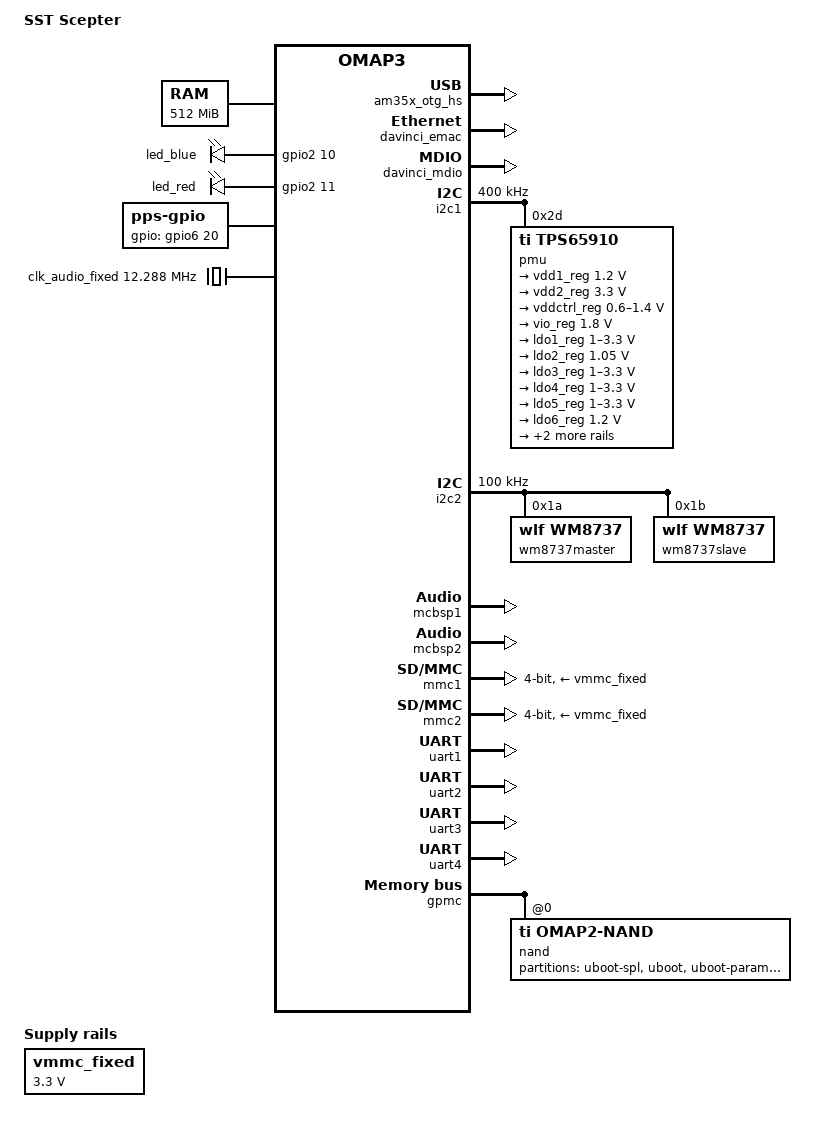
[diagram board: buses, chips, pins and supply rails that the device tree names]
/*
 * Copyright (C) 2011 Texas Instruments Incorporated - http://www.ti.com/
 *
 * This program is free software; you can redistribute it and/or modify
 * it under the terms of the GNU General Public License version 2 as
 * published by the Free Software Foundation.
 */
/dts-v1/;

#include "am3517.dtsi"
/*#include "tps65910.dtsi"*/

/ {
	model = "SST Scepter";
	compatible = "scepter", "ti,am3517-evm", "ti,am3517", "ti,omap3";

	memory {
		device_type = "memory";
		reg = <0x80000000 0x20000000>; /* 512 MB */
	};

	vmmc_fixed: vmmc {
		/*compatible = "regulator-always-on";*/
		compatible = "regulator-fixed";
		regulator-name = "vmmc_fixed";
		regulator-min-microvolt = <3300000>;
		regulator-max-microvolt = <3300000>;
	};
	
	
   	leds {
		pinctrl-names = "default";
		pinctrl-0 = <&user_leds>;
		compatible = "gpio-leds";

		led@1 {
			label = "led_blue";
			gpios = <&gpio2 10 GPIO_ACTIVE_HIGH>; /* GPIO 42 */
			default-state = "off";
		};
		led@2 {
			label = "led_red";
			gpios = <&gpio2 11 GPIO_ACTIVE_HIGH>; /* GPIO 43 */
			default-state = "on";
		};
	};
	
	pps {
		compatible = "pps-gpio";
		source-name = "ublox_neo6m";
		source-path = "/dev/ttyS3";
		pinctrl-names = "default";
		pinctrl-0 = <&gps_pins>;
		gpios = <&gpio6 20 GPIO_ACTIVE_HIGH>; /* gpio 180 */
	};

	/* iio-hwmon {
		compatible = "iio-hwmon";
		io-channels = <&adc 0>, <&adc 1>, <&adc 2>,
			<&adc 3>, <&adc 4>, <&adc 5>,
			<&adc 6>, <&adc 7>, <&adc 8>,
			<&adc 9>;
	}; */
	
	clk_audio_fixed: clk_audio_fixed {
		#clock-cells = <0>;
		compatible = "fixed-clock";
		clock-frequency = <12288000>;
	};

	sound {
		status = "okay";
		compatible = "simple-audio-card";
		simple-audio-card,name = "WM8737x2";
		simple-audio-card,widgets = "Line", "Line In";
	      simple-audio-card,routing =
	      	"LINPUT1", "Line In",
			"RINPUT1", "Line In";

		simple-audio-card,dai-link@0 { /* master */
			format = "dsp_b";
			bitclock-master = <&sound_master>;
			frame-master = <&sound_master>;
			cpu {
				sound-dai = <&mcbsp1 0>;
			};
			sound_master: codec {
				sound-dai = <&wm8737master 0>;
				clocks = <&clk_audio_fixed>;
			};
		};
	};
}; /* / */

&am35x_otg_hs {
	status = "okay";
};

&davinci_emac {
	status = "okay";
};

&davinci_mdio {
	status = "okay";
};

/* &mcspi1 {
	adc: mcp3001@0 {
		compatible = "microchip,mcp3001"
		reg = <0x0>;
		#io-channel-cells = <1>;
	}
}; */

&i2c1 {
	clock-frequency = <400000>;
	/*pinctrl-names = "default";
	pintctrl-0 = <&wm5102_i2c_pins_default>;*/
	status = "okay";

	pmu: tps65910@2d {
		compatible = "ti,tps65910";
		reg = <0x2d>;
		interrupt-parent = <&intc>;
		interrupts = < 0 118 0x04 >;

		#gpio-cells = <2>;
		gpio-controller;

		#interrupt-cells = <2>;
		interrupt-controller;

		ti,system-power-controller;

		/*ti,vmbch-threshold = 0;
		ti,vmbch2-threshold = 0;
		ti,en-ck32k-xtal;
		ti,en-gpio-sleep = <0 0 1 0 0 0 0 0 0>;

		vcc1-supply = <&reg_parent>;
		vcc2-supply = <&some_reg>;
		vcc3-supply = <...>;
		vcc4-supply = <...>;
		vcc5-supply = <...>;
		vcc6-supply = <...>;
		vcc7-supply = <...>;
		vccio-supply = <...>;*/

		regulators {
			#address-cells = <1>;
			#size-cells = <0>;

			vdd1_reg: regulator@0 {
				regulator-compatible = "vdd1";
				reg = <0>;
				regulator-min-microvolt = <1200000>;
				regulator-max-microvolt = <1200000>;
				regulator-always-on;
				regulator-boot-on;
				ti,regulator-ext-sleep-control = <0>;
			};
			vdd2_reg: regulator@1 {
				regulator-compatible = "vdd2";
				reg = <1>;
				regulator-min-microvolt = <3300000>;
				regulator-max-microvolt = <3300000>;
				regulator-always-on;
				regulator-boot-on;
				ti,regulator-ext-sleep-control = <4>;
			};
			vddctrl_reg: regulator@2 {
				regulator-compatible = "vddctrl";
				reg = <2>;
				regulator-min-microvolt = < 600000>;
				regulator-max-microvolt = <1400000>;
				regulator-always-on;
				regulator-boot-on;
				ti,regulator-ext-sleep-control = <0>;
			};
			vio_reg: regulator@3 {
				regulator-compatible = "vio";
				reg = <3>;
				regulator-min-microvolt = <1800000>;
				regulator-max-microvolt = <1800000>;
				regulator-always-on;
				regulator-boot-on;
				ti,regulator-ext-sleep-control = <1>;
			};
			ldo1_reg: regulator@4 {
				regulator-compatible = "ldo1";
				reg = <4>;
				regulator-min-microvolt = <1000000>;
				regulator-max-microvolt = <3300000>;
				ti,regulator-ext-sleep-control = <0>;
			};
			ldo2_reg: regulator@5 {
				regulator-compatible = "ldo2";
				reg = <5>;
				regulator-min-microvolt = <1050000>;
				regulator-max-microvolt = <1050000>;
				ti,regulator-ext-sleep-control = <0>;
			};
			ldo3_reg: regulator@6 {
				regulator-compatible = "ldo3";
				reg = <6>;
				regulator-min-microvolt = <1000000>;
				regulator-max-microvolt = <3300000>;
				ti,regulator-ext-sleep-control = <0>;
			};
			ldo4_reg: regulator@7 {
				regulator-compatible = "ldo4";
				reg = <7>;
				regulator-min-microvolt = <1000000>;
				regulator-max-microvolt = <3300000>;
				regulator-always-on;
				ti,regulator-ext-sleep-control = <0>;
			};
			ldo5_reg: regulator@8 {
				regulator-compatible = "ldo5";
				reg = <8>;
				regulator-min-microvolt = <1000000>;
				regulator-max-microvolt = <3300000>;
				ti,regulator-ext-sleep-control = <0>;
			};
			ldo6_reg: regulator@9 {
				regulator-compatible = "ldo6";
				reg = <9>;
				regulator-min-microvolt = <1200000>;
				regulator-max-microvolt = <1200000>;
				ti,regulator-ext-sleep-control = <0>;
			};
			ldo7_reg: regulator@10 {
				regulator-compatible = "ldo7";
				reg = <10>;
				regulator-min-microvolt = <1200000>;
				regulator-max-microvolt = <1200000>;
				regulator-always-on;
				regulator-boot-on;
				ti,regulator-ext-sleep-control = <1>;
			};
			ldo8_reg: regulator@11 {
				regulator-compatible = "ldo8";
				reg = <11>;
				regulator-min-microvolt = <1000000>;
				regulator-max-microvolt = <3300000>;
				regulator-always-on;
				ti,regulator-ext-sleep-control = <1>;
			};
		};
	};
};

&i2c2 {
	status = "okay";
	clock-frequency = <100000>;
	pinctrl-names = "default";
	pinctrl-0 = <&wm8737_pins_default>;
	
	wm8737master: wm8737@1a {
		compatible = "wlf,wm8737";
		reg = <0x1a>;
		status = "okay";
		/* Regulators */
		/* DCVDD-supply = <&vmmc_fixed>;
		DBVDD-supply = <&vmmc_fixed>;
		AVDD-supply = <&vmmc_fixed>;
		MVDD-supply = <&vmmc_fixed>; */
		#sound-dai-cells = <1>;
	};

	wm8737slave: wm8737@1b {
		compatible = "wlf,wm8737";
		reg = <0x1b>;
		status = "okay";
		/* Regulators */
		/* DCVDD-supply = <&vmmc_fixed>;
		DBVDD-supply = <&vmmc_fixed>;
		AVDD-supply = <&vmmc_fixed>;
		MVDD-supply = <&vmmc_fixed>; */
		#sound-dai-cells = <0>;
	};
};

&i2c3 {
	/* This is for the EEPROM, which is no longer populated */
	status = "disabled";
};


/* Master */
&mcbsp1 {
	status = "okay";
	pinctrl-names = "default";
	pinctrl-0 = <&mcbsp1_pins>;
	#sound-dai-cells = <1>;
	/* These are defined incorrectly in omap3.dtsi. See section 13.3.3.1 of the TRM */
	dmas = <&sdma 30>, <&sdma 31>;
	dma-names = "tx", "rx";
};

/* Slave */
&mcbsp2 {
	status = "okay";
	pinctrl-names = "default";
	pinctrl-0 = <&mcbsp2_pins>;
	/* These are defined incorrectly in omap3.dtsi. See section 13.3.3.1 of the TRM */
	dmas = <&sdma 32>, <&sdma 33>;
	dma-names = "tx", "rx";
};

/* PPS */
&mcbsp3 {
	/* We're now using GPIO pps instead of this, so let's disable this */
	status = "disabled";
};

&mmc1 {
	status = "okay";
	vmmc-supply = <&vmmc_fixed>;
	pinctrl-names = "default", "idle";
	pinctrl-0 = <&mmc1_pins_default>;
	pinctrl-1 = <&mmc1_pins_idle>;
	bus-width = <4>;
	ti,non-removable;
	disable-wp;
	/* interrupts-extended = <&intc 64 &gpio2 28 GPIO_ACTIVE_LOW>;*/
	/* interrupts-extended = <&intc 64 &gpio2 28 GPIO_ACTIVE_HIGH>; */
	/* cd-gpios = <&gpio1 6 GPIO_ACTIVE_HIGH>;
	cd-inverted;*/ 
};

&mmc2 {
	status = "okay";
	vmmc-supply = <&vmmc_fixed>;
	pinctrl-names = "default", "idle";
	pinctrl-0 = <&mmc2_pins_default>;
	pinctrl-1 = <&mmc2_pins_idle>;
	bus-width = <4>;
	/*interrupts-extended = <&intc 86 &gpio2 29 GPIO_ACTIVE_HIGH>;
	cd-gpios = <&gpio1 6 GPIO_ACTIVE_HIGH>;
	cd-inverted;*/
};

&aes {
	/* we don't have one of these */
	status = "disabled";
};

&sham {
	/* we don't have one of these */
	status = "disabled";
};

&mmc3 {
	status = "disabled";
};

&uart1 {
	status = "okay";
};

&uart2 {
	status = "okay";
};

&uart3 {
	status = "okay";
}; 

&uart4 {
	status = "okay";
	dma-names = "tx", "rx";
	dmas = <&sdma 55 &sdma 56>; /* dmas in am3517.dtsi is wrong so we fix it here. kick upstream? */
};

/* 
* TI's tools output offsets from 0x48002000. omap3.dtsi uses an offset of 0x48002030.
* Make sure you've adjusted the offsets accordingly.
*/
&omap3_pmx_core {
	pinctrl-names = "default";
	nand_pins: nand_pins {
		pinctrl-single,pins = <
			0x8E ( PIN_OUTPUT | MUX_MODE0 ) /* gpmc_clk, NC*/
			0x5E ( PIN_INPUT_PULLUP | MUX_MODE0 ) /* gpmc_d0, CPU_GPMC_D0*/
			0x60 ( PIN_INPUT_PULLUP | MUX_MODE0 ) /* gpmc_d1, CPU_GPMC_D1*/
			0x62 ( PIN_INPUT_PULLUP | MUX_MODE0 ) /* gpmc_d2, CPU_GPMC_D2*/
			0x64 ( PIN_INPUT_PULLUP | MUX_MODE0 ) /* gpmc_d3, CPU_GPMC_D3*/
			0x66 ( PIN_INPUT_PULLUP | MUX_MODE0 ) /* gpmc_d4, CPU_GPMC_D4*/
			0x68 ( PIN_INPUT_PULLUP | MUX_MODE0 ) /* gpmc_d5, CPU_GPMC_D5*/
			0x6A ( PIN_INPUT_PULLUP | MUX_MODE0 ) /* gpmc_d6, CPU_GPMC_D6*/
			0x6C ( PIN_INPUT_PULLUP | MUX_MODE0 ) /* gpmc_d7, CPU_GPMC_D7*/
			0x6E ( PIN_INPUT_PULLUP | MUX_MODE0 ) /* gpmc_d8, CPU_GPMC_D8*/
			0x70 ( PIN_INPUT_PULLUP | MUX_MODE0 ) /* gpmc_d9, CPU_GPMC_D9*/
			0x72 ( PIN_INPUT_PULLUP | MUX_MODE0 ) /* gpmc_d10, CPU_GPMC_D10*/
			0x74 ( PIN_INPUT_PULLUP | MUX_MODE0 ) /* gpmc_d11, CPU_GPMC_D11*/
			0x76 ( PIN_INPUT_PULLUP | MUX_MODE0 ) /* gpmc_d12, CPU_GPMC_D12*/
			0x78 ( PIN_INPUT_PULLUP | MUX_MODE0 ) /* gpmc_d13, CPU_GPMC_D13*/
			0x7A ( PIN_INPUT_PULLUP | MUX_MODE0 ) /* gpmc_d14, CPU_GPMC_D14*/
			0x7C ( PIN_INPUT_PULLUP | MUX_MODE0 ) /* gpmc_d15, CPU_GPMC_D15*/
			0x90 ( PIN_OUTPUT | MUX_MODE0 ) /* gpmc_nadv_ale, CPU_GPMC_NAVD_ALE*/
			0x96 ( PIN_OUTPUT_PULLUP | MUX_MODE0 ) /* gpmc_nbe0_cle, CPU_GPMC_NBE0_CLE*/
			0x98 ( PIN_INPUT_PULLUP | MUX_MODE7 ) /* safe_mode, NC*/
			0x7E ( PIN_OUTPUT_PULLUP | MUX_MODE0 ) /* gpmc_ncs0, CPU_GPMC_NCS0*/
			0x80 ( PIN_INPUT_PULLUP | MUX_MODE7 ) /* safe_mode, NC*/
			0x92 ( PIN_OUTPUT | MUX_MODE0 ) /* gpmc_noe, CPU_GPMC_NOE*/
			0x94 ( PIN_OUTPUT | MUX_MODE0 ) /* gpmc_nwe, CPU_GPMC_NWE*/
			0x9A ( PIN_OUTPUT | MUX_MODE0 ) /* gpmc_nwp, CPU_GPMC_NWP*/
			0x9C ( PIN_INPUT_PULLUP | MUX_MODE0 ) /* gpmc_wait0, CPU_GPMC_WAIT0*/
		> ;
	} ;

	mmc1_pins_default: pinmux_mmc1_pins {
		pinctrl-single,pins = <
			0x114 ( PIN_INPUT_PULLUP | MUX_MODE0 ) /* mmc1_clk, CPU_MMC1_CLK*/
			0x116 ( INPUT_EN | PULL_UP | MUX_MODE0 ) /* mmc1_cmd, CPU_MMC1_CMD*/
			0x118 ( INPUT_EN | PULL_UP | MUX_MODE0 ) /* mmc1_dat0, CPU_MMC1_DAT0*/
			0x11A ( INPUT_EN | PULL_UP | MUX_MODE0 ) /* mmc1_dat1, CPU_MMC1_DAT1*/
			0x11C ( INPUT_EN | PULL_UP | MUX_MODE0 ) /* mmc1_dat2, CPU_MMC1_DAT2*/
			0x11E ( INPUT_EN | PULL_UP | MUX_MODE0 ) /* mmc1_dat3, CPU_MMC1_DAT3*/
			0x1BE ( PIN_INPUT_PULLUP | MUX_MODE4 ) /* gpio_99, SD_CARD1_DET*/
		> ;
	} ; 

	mmc1_pins_idle: pinmux_mmc1_pins_idle {
		pinctrl-single,pins = <
			0x11A ( INPUT_EN | PULL_UP | MUX_MODE0 ) /* mmc1_dat1, CPU_MMC1_DAT1*/
		> ;
	};

	mmc1_pins_sleep: pinmux_mmc1_pins_sleep {
		pinctrl-single,pins = <
			0x114 ( PIN_INPUT_PULLUP | MUX_MODE0 ) /* mmc1_clk, CPU_MMC1_CLK*/
			0x116 ( INPUT_EN | PULL_UP | MUX_MODE0 ) /* mmc1_cmd, CPU_MMC1_CMD*/
			0x118 ( INPUT_EN | PULL_UP | MUX_MODE0 ) /* mmc1_dat0, CPU_MMC1_DAT0*/
			0x11A ( INPUT_EN | PULL_UP | MUX_MODE0 ) /* mmc1_dat1, CPU_MMC1_DAT1*/
			0x11C ( INPUT_EN | PULL_UP | MUX_MODE0 ) /* mmc1_dat2, CPU_MMC1_DAT2*/
			0x11E ( INPUT_EN | PULL_UP | MUX_MODE0 ) /* mmc1_dat3, CPU_MMC1_DAT3*/
			0x1BE ( PIN_INPUT_PULLUP | MUX_MODE4 ) /* gpio_99, SD_CARD1_DET*/
		> ;
	} ;

	mmc2_pins_default: pinmux_mmc2_pins_default {
		pinctrl-single,pins = <
			0x126 ( PIN_INPUT_PULLDOWN | MUX_MODE4 ) /* gpio_129, INTR_CARD_DET*/
			0x128 ( PIN_INPUT_PULLUP | MUX_MODE0 ) /* mmc2_clk, CPU_MMC2_CLK*/
			0x12A ( PIN_INPUT_PULLUP | MUX_MODE0 ) /* mmc2_cmd, CPU_MMC2_CMD*/
			0x12C ( PIN_INPUT_PULLUP | MUX_MODE0 ) /* mmc2_dat0, CPU_MMC2_DAT0*/
			0x12E ( PIN_INPUT_PULLUP | MUX_MODE0 ) /* mmc2_dat1, CPU_MMC2_DAT1*/
			0x130 ( PIN_INPUT_PULLUP | MUX_MODE0 ) /* mmc2_dat2, CPU_MMC2_DAT2*/
			0x132 ( PIN_INPUT_PULLUP | MUX_MODE0 ) /* mmc2_dat3, CPU_MMC2_DAT3*/
			0x134 ( PIN_INPUT_PULLDOWN | MUX_MODE1 ) /* HY-DBG: MMC2_DIR_DAT0 gpio_136, BD_REV2*/
			0x136 ( PIN_INPUT_PULLDOWN | MUX_MODE1 ) /* HY-DBG: MMC2_DIR_DAT1 gpio_137, BD_REV3*/
			0x13A ( PIN_INPUT_PULLUP | MUX_MODE1 ) /* mmc2_clkin, MMC2_CLKIN*/
			/*	 0x138 ( PIN_INPUT_PULLUP | MUX_MODE1 ) /* HY-DBG: MMC2_DIR_CMD gpio_138, SD_CARD2_DET*/
			/*	 0x140 ( PIN_INPUT | MUX_MODE0 ) /* mcbsp3_clkx, ADC_BCLK1*/
		> ;
	} ;

	mmc2_pins_idle: pinmux_mmc2_pins_idle {
		pinctrl-single,pins = <
			0x12E ( PIN_INPUT_PULLUP | MUX_MODE0 ) /* mmc2_dat1, CPU_MMC2_DAT1*/
		> ;
	};

	mmc2_pins_sleep: pinmux_mmc2_pins_sleep {
		pinctrl-single,pins = <
			0x126 ( PIN_INPUT_PULLDOWN | MUX_MODE4 ) /* gpio_129, INTR_CARD_DET*/
			0x128 ( PIN_INPUT_PULLUP | MUX_MODE0 ) /* mmc2_clk, CPU_MMC2_CLK*/
			0x12A ( PIN_INPUT_PULLUP | MUX_MODE0 ) /* mmc2_cmd, CPU_MMC2_CMD*/
			0x12C ( PIN_INPUT_PULLUP | MUX_MODE0 ) /* mmc2_dat0, CPU_MMC2_DAT0*/
			0x12E ( PIN_INPUT_PULLUP | MUX_MODE0 ) /* mmc2_dat1, CPU_MMC2_DAT1*/
			0x130 ( PIN_INPUT_PULLUP | MUX_MODE0 ) /* mmc2_dat2, CPU_MMC2_DAT2*/
			0x132 ( PIN_INPUT_PULLUP | MUX_MODE0 ) /* mmc2_dat3, CPU_MMC2_DAT3*/
			0x134 ( PIN_INPUT_PULLDOWN | MUX_MODE1 ) /* HY-DBG: MMC2_DIR_DAT0 gpio_136, BD_REV2*/
			0x136 ( PIN_INPUT_PULLDOWN | MUX_MODE1 ) /* HY-DBG: MMC2_DIR_DAT1 gpio_137, BD_REV3*/
			0x13A ( PIN_INPUT_PULLUP | MUX_MODE1 ) /* mmc2_clkin, MMC2_CLKIN*/
		> ;
	} ;

	/* wm8737 control */
	wm8737_pins_default: wm8737_pins_default {
		pinctrl-single,pins = <
			0x18E ( PIN_INPUT_PULLUP | MUX_MODE0 ) /* i2c2_scl, CPU_I2C2_SCL*/
			0x190 ( PIN_INPUT_PULLUP | MUX_MODE0 ) /* i2c2_sda, CPU_I2C2_SDA*/
			0x1CC ( PIN_OUTPUT | MUX_MODE4 ) /* gpio_106, CPU_ENABLE_ADC_CLK*/
		>;
	};

	/* Master ADC0 */
	mcbsp1_pins: pinmux_mcbsp1_pins {
		pinctrl-single,pins = <
			0x15C ( PIN_INPUT | MUX_MODE0 ) /* mcbsp1_clkr, ADC_BCLK_1*/
			0x15E ( PIN_INPUT_PULLUP | MUX_MODE0 ) /* mcbsp1_fsr, FRAME_SYNC*/
			0x142 ( PIN_INPUT | MUX_MODE0 ) /* mcbsp3_fsx, FRAME_SYNC*/
			0x1AC ( PIN_INPUT_PULLDOWN | MUX_MODE7 ) /* gpt11_pwm_evt, FRAME_SYNC_8192*/
			0x162 ( PIN_INPUT | MUX_MODE0 ) /* mcbsp1_dr, ADCDAT_L*/
			0x164 ( PIN_INPUT | MUX_MODE0 ) /* mcbsp_clks, ADC_MCLK*/
		>;
	};

	/* Slave ADC1 */
	mcbsp2_pins: pinmux_mcbsp2_pins {
		pinctrl-single,pins = <
			0x10C ( PIN_INPUT | MUX_MODE0 ) /* mcbsp2_fsx, FRAME_SYNC*/
			0x10E ( PIN_INPUT | MUX_MODE0 ) /* mcbsp2_clkx, ADC_BCLK_1*/
			0x110 ( PIN_INPUT | MUX_MODE0 ) /* mcbsp2_dr, ADCDAT_R*/
		>;
	};
	
	/* Pins associated with the GPS */
	gps_pins: gps_pins {
		pinctrl-single,pins = <
			0x13E ( PIN_INPUT | MUX_MODE0 ) /* mcbsp3_dr, GPS_1PPS*/
			0x1AA ( PIN_INPUT | MUX_MODE4 ) /* gpt10_pwm_evt, GPS_1PPS*/
			0x1B6 ( PIN_OUTPUT | MUX_MODE2 ) /* uart4_tx, GPS_RXD*/
			0x1BC ( PIN_INPUT | MUX_MODE2 ) /* uart4_rx, GPS_TXD*/
			0x4A ( PIN_OUTPUT | MUX_MODE4 ) /* gpio_34, GPS_PWRON*/
			0x4C ( PIN_OUTPUT | MUX_MODE4 ) /* gpio_35, GPS_RST*/
		>;
	};
	
	/* User LEDs */
	user_leds: user_leds {
		pinctrl-single,pins = <
			0x5A ( PIN_OUTPUT | MUX_MODE4 ) /* gpio_42, CPU_LED_1*/
			0x5C ( PIN_OUTPUT | MUX_MODE4 ) /* gpio_43, CPU_LED_2*/
		>;
	};
	
	/* Serial console */
	uart3_pins: pinmux_uart3_pins {
		pinctrl-single,pins = <
			0x16A ( PIN_INPUT | MUX_MODE0 ) /* uart3_cts_rctx, CPU_UART3_CTS */
			0x16C ( PIN_OUTPUT | MUX_MODE0 ) /* uart3_rts_sd, CPU_UART3_RTS */
			0x16E ( PIN_INPUT | MUX_MODE0 ) /* uart3_rx_irrx, CPU_UART3_RX */
			0x170 ( PIN_OUTPUT | MUX_MODE0 ) /* uart3_tx_irtx, CPU_UART3_TX */
		>;
	};
	
	/* Pins associated with the cellular radio */
	cell_radio_default: pinmux_cell_radio {
		pinctrl-single,pins = <
			0x148 ( PIN_OUTPUT | MUX_MODE0 ) /* uart2_tx, GSM_RX1_CPU */
			0x14A ( PIN_INPUT | MUX_MODE0 ) /* uart2_rx, GSM_TX1_CPU */
			0x14C ( PIN_OUTPUT | MUX_MODE0 ) /* uart1_tx, GSM_RX0_CPU */
			0x152 ( PIN_INPUT | MUX_MODE0 ) /* uart1_rx, GSM_TX0_CPU */
			0x9E ( PIN_INPUT_PULLDOWN | MUX_MODE4 ) /* gpio_63, GSM_TXON*/
			0xA0 ( PIN_INPUT_PULLDOWN | MUX_MODE4 ) /* gpio_64, GSM_HWR*/
			0x82 ( PIN_OUTPUT | MUX_MODE4 ) /* gpio_53, GSM_WDIS*/
			0x84 ( PIN_OUTPUT | MUX_MODE4 ) /* gpio_54, GSM_3304_ON*/
			0x86 ( PIN_OUTPUT | MUX_MODE4 ) /* gpio_55, GSM_PWRON*/
			0x5AC ( PIN_INPUT_PULLDOWN | MUX_MODE5 ) /* mm_fsusb1_rxrcv, CPU_MM_FSUSB1_RXRCV*/
			0x5AE ( PIN_INPUT | MUX_MODE5 ) /* mm_fsusb1_txse0, CPU_MM_FSUSB1_TXSE0*/
			0x5B0 ( PIN_INPUT_PULLDOWN | MUX_MODE5 ) /* mm_fsusb1_txdat, CPU_MM_FSUSB1_TXDAT*/
			0x5BA ( PIN_INPUT | MUX_MODE5 ) /* mm_fsusb1_txen_n, CPU_MM_FSUSB1_TXEN_N*/
		>;
	};
	
	/* Ethernet */
	ethernet_pins: pinmux_ethernet_pins {
		pinctrl-single,pins = <
			0x4E ( PIN_OUTPUT | MUX_MODE4 ) /* gpio_36, RELAY*/
			0x8C ( PIN_INPUT_PULLDOWN | MUX_MODE4 ) /* gpio_58, ETHERNET_IRQ_N*/
			0xA2 ( PIN_OUTPUT | MUX_MODE4 ) /* gpio_65, CPU_ETHERNET_RST_N*/
			0x1CE ( PIN_INPUT | MUX_MODE0 ) /* rmii_mdio_data, CPU_RMII_MDIO_DATA*/
			0x1D0 ( PIN_OUTPUT | MUX_MODE0 ) /* rmii_mdio_clk, CPU_RMII_MDIO_CLK*/
			0x1D2 ( PIN_INPUT | MUX_MODE0 ) /* rmii_rxd0, CPU_RMII_RXD0*/
			0x1D4 ( PIN_INPUT | MUX_MODE0 ) /* rmii_rxd1, CPU_RMII_RXD1*/
			0x1D6 ( PIN_INPUT | MUX_MODE0 ) /* rmii_crs_dv, CPU_RMII_CRS_DV*/
			0x1D8 ( PIN_OUTPUT | MUX_MODE0 ) /* rmii_rxer, CPU_RMII_RXER*/
			0x1DA ( PIN_OUTPUT | MUX_MODE0 ) /* rmii_txd0, CPU_RMII_TXD0*/
			0x1DC ( PIN_OUTPUT | MUX_MODE0 ) /* rmii_txd1, CPU_RMII_TXD1*/
			0x1DE ( PIN_OUTPUT | MUX_MODE0 ) /* rmii_txen, CPU_RMII_TXEN*/
			0x1E0 ( PIN_INPUT_PULLDOWN | MUX_MODE0 ) /* rmii_50mhz_clk, RMII_50MHZ_CLK*/
			0x1E2 ( PIN_OUTPUT_PULLDOWN | MUX_MODE0 ) /* usb0_drvvbus, CPU_USB0_DRVVBUS */
		>;
	};
	
	/* PMIC */
	pmic_pins: pinmux_pmic_pins {
		pinctrl-single,pins = <
			0x9D4 ( PIN_INPUT | MUX_MODE0 ) /* sys_32k, CPU_CLK32K*/
			0x9D6 ( PIN_INPUT | MUX_MODE4 ) /* gpio_1, SLEEP */
			0x18A ( PIN_INPUT_PULLUP | MUX_MODE0 ) /* i2c1_scl, CPU_I2C1_SCL*/
			0x18C ( PIN_INPUT_PULLUP | MUX_MODE0 ) /* i2c1_sda, CPU_I2C1_SDA*/
		>;
	};
		
	/* CPLD watchdog */
	cpld_pins: pinmux_cpld_pins {
		pinctrl-single,pins = <
			0xA6 ( PIN_INPUT_PULLDOWN | MUX_MODE4 ) /* gpio_67, CPLD_REV0*/
			0xA8 ( PIN_INPUT_PULLDOWN | MUX_MODE4 ) /* gpio_68, CPLD_REV1*/
			0xAA ( PIN_INPUT_PULLUP | MUX_MODE4 ) /* gpio_69, CPLD_REV2*/
			0xBE ( PIN_INPUT_PULLUP | MUX_MODE4 ) /* gpio_79, SHTDWN_FLAG*/
			0xB8 ( PIN_INPUT_PULLUP | MUX_MODE4 ) /* gpio_76, CPLD_HEARTBEAT*/
			0xA4 ( PIN_INPUT_PULLUP | MUX_MODE4 ) /* gpio_66, CPU_FORCE_SHTDWN*/
		>;
	};
	
	/* sdrc */
	sdrc_pins: pinmux_sdrc_pins {
		pinctrl-single,pins = <
			0x1EA ( PIN_INPUT_PULLDOWN | MUX_MODE0 ) /* sdrc_dqs0n, GND*/
			0x1EC ( PIN_INPUT_PULLDOWN | MUX_MODE0 ) /* sdrc_dqs1n, GND*/
			0x1EE ( PIN_INPUT_PULLDOWN | MUX_MODE0 ) /* sdrc_dqs2n, GND*/
			0x1F0 ( PIN_INPUT_PULLDOWN | MUX_MODE0 ) /* sdrc_dqs3n, GND*/
			0x1F2 ( PIN_INPUT | MUX_MODE0 ) /* sdrc_strben_dly0, NC*/
			0x1F4 ( PIN_INPUT | MUX_MODE0 ) /* sdrc_strben_dly1, NC*/
			0x236 ( PIN_OUTPUT | MUX_MODE0 ) /* sdrc_cke0, CPU_DSRC_SKE0*/
			0x00 ( PIN_INPUT | MUX_MODE0 ) /* sdrc_d0, CPU_SDRC_D0*/
			0x02 ( PIN_INPUT | MUX_MODE0 ) /* sdrc_d1, CPU_SDRC_D1*/
			0x04 ( PIN_INPUT | MUX_MODE0 ) /* sdrc_d2, CPU_SDRC_D2*/
			0x06 ( PIN_INPUT | MUX_MODE0 ) /* sdrc_d3, CPU_SDRC_D3*/
			0x08 ( PIN_INPUT | MUX_MODE0 ) /* sdrc_d4, CPU_SDRC_D4*/
			0x0A ( PIN_INPUT | MUX_MODE0 ) /* sdrc_d5, CPU_SDRC_D5*/
			0x0C ( PIN_INPUT | MUX_MODE0 ) /* sdrc_d6, CPU_SDRC_D6*/
			0x0E ( PIN_INPUT | MUX_MODE0 ) /* sdrc_d7, CPU_SDRC_D7*/
			0x10 ( PIN_INPUT | MUX_MODE0 ) /* sdrc_d8, CPU_SDRC_D8*/
			0x12 ( PIN_INPUT | MUX_MODE0 ) /* sdrc_d9, CPU_SDRC_D9*/
			0x14 ( PIN_INPUT | MUX_MODE0 ) /* sdrc_d10, CPU_SDRC_D10*/
			0x16 ( PIN_INPUT | MUX_MODE0 ) /* sdrc_d11, CPU_SDRC_D11*/
			0x18 ( PIN_INPUT | MUX_MODE0 ) /* sdrc_d12, CPU_SDRC_D12*/
			0x1A ( PIN_INPUT | MUX_MODE0 ) /* sdrc_d13, CPU_SDRC_D13*/
			0x1C ( PIN_INPUT | MUX_MODE0 ) /* sdrc_d14, CPU_SDRC_D14*/
			0x1E ( PIN_INPUT | MUX_MODE0 ) /* sdrc_d15, CPU_SDRC_D15*/
			0x20 ( PIN_INPUT | MUX_MODE0 ) /* sdrc_d16, CPU_SDRC_D16*/
			0x22 ( PIN_INPUT | MUX_MODE0 ) /* sdrc_d17, CPU_SDRC_D17*/
			0x24 ( PIN_INPUT | MUX_MODE0 ) /* sdrc_d18, CPU_SDRC_D18*/
			0x26 ( PIN_INPUT | MUX_MODE0 ) /* sdrc_d19, CPU_SDRC_D19*/
			0x28 ( PIN_INPUT | MUX_MODE0 ) /* sdrc_d20, CPU_SDRC_D20*/
			0x2A ( PIN_INPUT | MUX_MODE0 ) /* sdrc_d21, CPU_SDRC_D21*/
			0x2C ( PIN_INPUT | MUX_MODE0 ) /* sdrc_d22, CPU_SDRC_D22*/
			0x2E ( PIN_INPUT | MUX_MODE0 ) /* sdrc_d23, CPU_SDRC_D23*/
			0x30 ( PIN_INPUT | MUX_MODE0 ) /* sdrc_d24, CPU_SDRC_D24*/
			0x32 ( PIN_INPUT | MUX_MODE0 ) /* sdrc_d25, CPU_SDRC_D25*/
			0x34 ( PIN_INPUT | MUX_MODE0 ) /* sdrc_d26, CPU_SDRC_D26*/
			0x36 ( PIN_INPUT | MUX_MODE0 ) /* sdrc_d27, CPU_SDRC_D27*/
			0x38 ( PIN_INPUT | MUX_MODE0 ) /* sdrc_d28, CPU_SDRC_D28*/
			0x3A ( PIN_INPUT | MUX_MODE0 ) /* sdrc_d29, CPU_SDRC_D29*/
			0x3C ( PIN_INPUT | MUX_MODE0 ) /* sdrc_d30, CPU_SDRC_D30*/
			0x3E ( PIN_INPUT | MUX_MODE0 ) /* sdrc_d31, CPU_SDRC_D31*/
			0x40 ( PIN_INPUT | MUX_MODE0 ) /* sdrc_clk, CPU_SDRC_CLK*/
			0x42 ( PIN_INPUT | MUX_MODE0 ) /* sdrc_dqs0p, CPU_SDRC_DQS0*/
			0x44 ( PIN_INPUT | MUX_MODE0 ) /* sdrc_dqs1p, CPU_SDRC_DQS1*/
			0x46 ( PIN_INPUT | MUX_MODE0 ) /* sdrc_dqs2p, CPU_SDRC_DQS2*/
			0x48 ( PIN_INPUT | MUX_MODE0 ) /* sdrc_dqs3p, CPU_SDRC_DQS3*/
		>;
	};
	
	/* hwmon */
	hwmon_pins: pinmux_hwmon {
		pinctrl-single,pins = <
			0x198 ( PIN_INPUT | MUX_MODE0 ) /* mcspi1_clk, CPU_MCSPI1_CLK*/
			0x19A ( PIN_INPUT | MUX_MODE0 ) /* mcspi1_simo, TP28_SPI1_SIMO*/
			0x19C ( PIN_INPUT | MUX_MODE0 ) /* mcspi1_somi, CPU_MCSPI1_SOMI*/
			0x19E ( PIN_INPUT_PULLDOWN | MUX_MODE0 ) /* mcspi1_cs0, CPU_MCSPI_CS0*/
			0x1C2 ( PIN_OUTPUT | MUX_MODE4 ) /* gpio_101, CPU_AMUX_INHB*/
			0x1C4 ( PIN_OUTPUT | MUX_MODE4 ) /* gpio_102, CPU_AMUX_A0*/
			0x1C6 ( PIN_OUTPUT | MUX_MODE4 ) /* gpio_103, CPU_AMUX_A1*/
			0x1C8 ( PIN_OUTPUT | MUX_MODE4 ) /* gpio_104, CPU_AMUX_A2*/
			0x1CA ( PIN_OUTPUT | MUX_MODE4 ) /* gpio_105, CPU_AMUX_A3*/
			0xB0 ( PIN_OUTPUT | MUX_MODE4 ) /* gpio_72, CPU_AMUX_A4*/
		>;
	};
	
	/* Heaters */
	heaters: pinmux_heaters {
		pinctrl-single,pins = <
			0x50 ( PIN_INPUT_PULLDOWN | MUX_MODE4 ) /* gpio_37, HEAT_3304*/
			0xAC ( PIN_INPUT_PULLDOWN | MUX_MODE4 ) /* gpio_70, CPU_ADC_HEAT_LFT*/
			0xAE ( PIN_INPUT_PULLDOWN | MUX_MODE4 ) /* gpio_71, CPU_ADC_HEAT_RGT*/
		>;
	};
	
	/* Board rev fuses */
	board_rev_pins: pinmux_board_rev {
		pinctrl-single,pins = <
			0x120 ( PIN_INPUT_PULLDOWN | MUX_MODE4 ) /* gpio_126, BD_REV0*/
			0x122 ( PIN_INPUT_PULLDOWN | MUX_MODE4 ) /* gpio_127, BD_REV1*/
			0xD0 ( PIN_INPUT | MUX_MODE4 ) /* gpio_88, BD_REV2*/
			0xD2 ( PIN_INPUT | MUX_MODE4 ) /* gpio_89, BD_REV3*/
		>;
	};
	
	/* JTAG */
	jtag: pinmux_jtag {
		pinctrl-single,pins = <
			0x9EE ( PIN_INPUT | MUX_MODE0 ) /* jtag_tck, CPU_JTAG_TCK*/
			0x9F0 ( PIN_INPUT | MUX_MODE0 ) /* jtag_tms_tmsc, CPU_JTAG_TMS_TMSC*/
			0x9F2 ( PIN_INPUT | MUX_MODE0 ) /* jtag_tdi, CPU_JTAG_TDI*/
			0x9F4 ( PIN_INPUT | MUX_MODE0 ) /* jtag_emu0, CPU_JTAG_EMU0*/
			0x9F6 ( PIN_INPUT | MUX_MODE0 ) /* jtag_emu1, CPU_JTAG_EMU1*/
		>;
	};
	
	/* sysboot pins */
	sysboot: pinmux_sysboot {
		pinctrl-single,pins = <
			0x9DA ( PIN_INPUT | MUX_MODE0 ) /* sys_boot0, CPU_SYS_BOOT0*/
			0x9DC ( PIN_INPUT | MUX_MODE0 ) /* sys_boot1, CPU_SYS_BOOT1*/
			0x9DE ( PIN_INPUT | MUX_MODE0 ) /* sys_boot2, CPU_SYS_BOOT2*/
			0x9E0 ( PIN_INPUT | MUX_MODE0 ) /* sys_boot3, CPU_SYS_BOOT3 */
			0x9E2 ( PIN_INPUT | MUX_MODE0 ) /* sys_boot4, CPU_SYS_BOOT4 */
			0x9E4 ( PIN_INPUT | MUX_MODE0 ) /* sys_boot5, CPU_SYS_BOOT5 */
			0x9E6 ( PIN_INPUT | MUX_MODE0 ) /* sys_boot6, CPU_SYS_BOOT6 */
			0x1E8 ( PIN_INPUT | MUX_MODE0 ) /* sys_boot7, CPU_SYS_BOOT7 */
			0x1F6 ( PIN_INPUT | MUX_MODE0 ) /* sys_boot8, CPU_SYS_BOOT8 */
		>;
	};
	
	/* Grab bag */
	grabbag_pins: pinmux_grabbag {
		pinctrl-single,pins = <	
			0x52 ( PIN_INPUT_PULLUP | MUX_MODE4 ) /* gpio_38, 3810_POWER_GOOD*/
			0x54 ( PIN_INPUT_PULLDOWN | MUX_MODE4 ) /* gpio_39, 4356_LOW_VOLTAGE*/
			0x56 ( PIN_INPUT_PULLDOWN | MUX_MODE4 ) /* gpio_40, 4356_FAULT*/
			0x88 ( PIN_OUTPUT | MUX_MODE4 ) /* gpio_56, 1V8AR_PWRON*/
			0xD6 ( PIN_OUTPUT | MUX_MODE4 ) /* gpio_91, CPU_TP0*/
			0xD8 ( PIN_OUTPUT | MUX_MODE4 ) /* gpio_92, CPU_TP1*/
			0xDA ( PIN_OUTPUT | MUX_MODE4 ) /* gpio_93, CPU_TP2*/
			0x124 ( PIN_OUTPUT | MUX_MODE4 ) /* gpio_128, CPU_PWRON_ADC*/
			0x9D8 ( PIN_INPUT | MUX_MODE0 ) /* sys_nreswarm, WARM_NRST */
			0x140 ( PIN_INPUT | MUX_MODE0 ) /* mcbsp3_clkx, ADC_BCLK1*/
			0x1B0 ( PIN_INPUT_PULLUP | MUX_MODE0 ) /* sys_nirq, NIRQ */
			0x1C0 ( INPUT_EN | PULL_UP | MUX_MODE4 ) /* gpio_100, 4356_GOOD*/
			0x4E ( PIN_OUTPUT | MUX_MODE4 ) /* gpio_36, RELAY*/
			0x8C ( PIN_INPUT_PULLDOWN | MUX_MODE4 ) /* gpio_58, ETHERNET_IRQ_N*/
			0xB4 ( PIN_OUTPUT | MUX_MODE4 ) /* gpio_74, CPU_USB_SPEED*/
			0xB6 ( PIN_OUTPUT | MUX_MODE4 ) /* gpio_75, CPU_SOFTCON*/
			0xBC ( PIN_OUTPUT | MUX_MODE4 ) /* gpio_78, CPU_TP3*/
			0xC0 ( PIN_INPUT_PULLUP | MUX_MODE4 ) /* gpio_80, SW0*/
			0xC2 ( PIN_INPUT_PULLUP | MUX_MODE4 ) /* gpio_81, SW1*/
			0xC8 ( PIN_OUTPUT | MUX_MODE4 ) /* gpio_84, CPU_CNTR_RST*/
		>;
	};
	
	/* Non-connected pins */
	not_connected: pinmux_nc_pins {
		pinctrl-single,pins = <
			0x58 ( PIN_INPUT_PULLUP | MUX_MODE7 ) /* safe_mode, NC*/
			0x8A ( PIN_INPUT | MUX_MODE7 ) /* safe_mode, NC*/
			0xB2 ( PIN_INPUT | MUX_MODE7 ) /* safe_mode, NC*/
			0xC4 ( PIN_INPUT_PULLUP | MUX_MODE7 ) /* gpio_82, NC*/
			0xC6 ( PIN_INPUT_PULLUP | MUX_MODE7 ) /* gpio_83, NC*/
			0xCA ( PIN_OUTPUT | MUX_MODE7 ) /* gpio_85, NC*/
			0xCC ( PIN_OUTPUT | MUX_MODE7 ) /* gpio_86, NC*/
			0xCE ( PIN_OUTPUT | MUX_MODE7 ) /* gpio_87, NC*/
			0xD4 ( PIN_OUTPUT | MUX_MODE7 ) /* gpio_90, NC*/
			0x112 ( PIN_INPUT | MUX_MODE7 ) /* safe_mode, NC*/
			0x13C ( PIN_INPUT | MUX_MODE7 ) /* safe_mode, NC*/
			0x144 ( PIN_INPUT_PULLUP | MUX_MODE7 ) /* safe_mode, NC */
			0x146 ( PIN_INPUT | MUX_MODE7 ) /* safe_mode, NC */
			0x14E ( PIN_INPUT | MUX_MODE7 ) /* safe_mode, NC */
			0x150 ( PIN_INPUT | MUX_MODE7 ) /* safe_mode, NC */
			0x154 ( PIN_INPUT | MUX_MODE7 ) /* safe_mode, NC*/
			0x156 ( PIN_INPUT | MUX_MODE7 ) /* safe_mode, NC*/
			0x158 ( PIN_INPUT | MUX_MODE7 ) /* safe_mode, NC*/
			0x15A ( PIN_INPUT | MUX_MODE7 ) /* safe_mode, NC*/
			0x160 ( PIN_INPUT | MUX_MODE7 ) /* safe_mode, NC*/
			0x166 ( PIN_INPUT | MUX_MODE7 ) /* safe_mode, NC*/
			0x168 ( PIN_INPUT | MUX_MODE7 ) /* safe_mode, NC*/
			0x196 ( PIN_INPUT_PULLUP | MUX_MODE7 ) /* safe_mode, NC*/
			0x1A0 ( PIN_INPUT_PULLDOWN | MUX_MODE7 ) /* safe_mode, NC*/
			0x1A2 ( PIN_INPUT | MUX_MODE7 ) /* safe_mode, NC*/
			0x1A4 ( PIN_INPUT_PULLDOWN | MUX_MODE7 ) /* safe_mode, NC*/
			0x1A6 ( PIN_INPUT | MUX_MODE7 ) /* safe_mode, NC*/
			0x1A8 ( PIN_INPUT | MUX_MODE7 ) /* safe_mode, NC*/
			0x1AE ( PIN_INPUT_PULLDOWN | MUX_MODE7 ) /* safe_mode, NC*/
			0x1B2 ( PIN_INPUT_PULLUP | MUX_MODE7 ) /* safe_mode, NC */
			0x1B4 ( PIN_INPUT_PULLUP | MUX_MODE7 ) /* safe_mode, NC*/
			0x1B8 ( PIN_INPUT_PULLUP | MUX_MODE7 ) /* safe_mode, NC*/
			0x1BA ( PIN_INPUT_PULLUP | MUX_MODE7 ) /* safe_mode, NC*/
			0x1E4 ( PIN_INPUT_PULLUP | MUX_MODE7 ) /* safe_mode, NC*/
			0x1E6 ( PIN_INPUT_PULLUP | MUX_MODE7 ) /* safe_mode, NC*/
			0x5A8 ( PIN_INPUT | MUX_MODE4 ) /* gpio_12, NC*/
			0x5AA ( PIN_INPUT | MUX_MODE4 ) /* gpio_13, NC*/
			0x5B2 ( PIN_INPUT | MUX_MODE4 ) /* gpio_17, NC*/
			0x5B4 ( PIN_INPUT | MUX_MODE4 ) /* gpio_18, NC*/
			0x5B6 ( PIN_INPUT | MUX_MODE4 ) /* gpio_19, NC*/
			0x5B8 ( PIN_INPUT | MUX_MODE4 ) /* gpio_20, NC*/
			0x5BC ( PIN_INPUT | MUX_MODE4 ) /* gpio_22, NC*/
			0x5BE ( PIN_INPUT | MUX_MODE4 ) /* gpio_23, NC*/
			0x5C0 ( PIN_INPUT | MUX_MODE4 ) /* gpio_24, NC*/
			0x5C2 ( PIN_INPUT | MUX_MODE4 ) /* gpio_25, NC*/
			0x5C4 ( PIN_INPUT | MUX_MODE4 ) /* gpio_26, NC*/
			0x5C6 ( PIN_INPUT | MUX_MODE4 ) /* gpio_27, NC*/
			0x5C8 ( PIN_INPUT | MUX_MODE4 ) /* gpio_28, NC*/
			0x5CA ( PIN_INPUT | MUX_MODE4 ) /* gpio_29, NC*/
			0x9EA ( PIN_INPUT | MUX_MODE7 ) /* safe_mode, NC */
			/* We've no-stuffed the EEPROM, so nothing on the next three pins */
			0xBA ( PIN_INPUT_PULLDOWN | MUX_MODE7 ) /* gpio_77, WP_EEPROM*/
			0x192 ( PIN_INPUT_PULLUP | MUX_MODE7 ) /* i2c3_scl, CPU_I2C3_SCL*/
			0x194 ( PIN_INPUT_PULLUP | MUX_MODE7 ) /* i2c3_sda, CPU_I2C3_SDA*/
		>;
	};
} ;

&gpmc {
	ranges = <0 0 0x00000000 0x10000000>;	/* CS0 0 ADDRESS SIZE */
	nand@0,0 {
		compatible = "ti,omap2-nand";
		reg = <0 0 0>;
		pinctrl-names = "default";
		pintctrl-0 = <&nand_pins>;
		interrupt-parent = <&gpmc>;
		nand-bus-width = <16>;
		#address-cells = <1>;
		#size-cells = <1>;
		linux,mtd-name= "micron,nand";
		gpmc,device-nand;
		gpmc,device-width = <2>;
		/*
		* We should be using BCH8, but in field upgrades would be impossible.
		* This is a compromise for backwards compatibility. We're not making
		* things any worse than they already are.
		*/
		ti,nand-ecc-opt = "sw"; /* Software 1 bit Hamming */
		/* L3 interconnect frequency = GPMC_FCLK = 166MHz => clock cycle = 6 ns*/
		/* gpmc,sync-clk-ps = <0>; */ /* N/A because we're async*/
		gpmc,cs-on-ns = <0>; /* 0 clock cycles */
		gpmc,cs-rd-off-ns = <120>; /* 20 clock cycles */
		gpmc,cs-wr-off-ns = <120>; /* 20 clock cycles */
		gpmc,adv-on-ns = <0>; /* 0 clock cycles */
		gpmc,adv-rd-off-ns = <120>; /* 20 clock cycles */
		gpmc,adv-wr-off-ns = <120>; /* 20 clock cycles */
		gpmc,we-on-ns = <6>; /* 1 clock cycle */
		gpmc,we-off-ns = <90>; /* 15 clock cycles */
		gpmc,oe-on-ns = <6>; /* 1 clock cycle */
		gpmc,oe-off-ns = <90>; /* 15 clock cycles */
		gpmc,page-burst-access-ns = <>; /* 1 clock cycle */
		gpmc,access-ns = <72>; /* 12 cycles */
		gpmc,rd-cycle-ns = <120>; /* 20 cycles */
		gpmc,wr-cycle-ns = <120>; /* 20 cycles */
		gpmc,bus-turnaround-ns = <0>; /* 0 cycles */
		gpmc,cycle2cycle-delay-ns = <60>; /* 10 cycles */
		gpmc,clk-activation-ns = <6>; /* 1 cycle */
		gpmc,cycle2cycle-samecsen; /* boolean */
		/* N/A */
		/* gpmc,wr-access-ns = <>;
		gpmc,wr-data-mux-bus-ns = <>; */

		partition@0 {
			label = "uboot-spl";
			reg = <0x0000000 0x00080000>;
			read-only;
		};

		partition@0x00080000 {
			label = "uboot";
			reg = <0x00080000 0x001c0000>;
			/* read-only; */
		};

		partition@0x00240000 {
			label = "uboot-params";
			reg = <0x00240000 0x00002000>;
			/* read-only; */
		};

		partition@0x00260000 {
			label = "uboot-params-recovery";
			reg = <0x00260000 0x00002000>;
			/* read-only; */
		};

		partition@0x00280000 {
			label = "linux-kernel";
			reg = <0x00280000 0x00500000>;
			/* read-only; */
		};

		partition@0x00780000 {
			label = "linux-kernel-recovery";
			reg = <0x00780000 0x00500000>;
			/* read-only; */
		};

		partition@0x00c80000 {
			label = "rootfs-recovery";
			reg = <0x00c80000 0x02000000>;
		};

		partition@0x02c80000 {
			label = "mfg";
			reg = <0x02c80000 0x00500000>;
		};

		partition@0x03180000 {
			label = "config";
			reg = <0x03180000 0x00a00000>;
		};

		partition@0x03b80000 {
			label = "cache";
			reg = <0x03b80000 0x01e00000>;
		};

		partition@0x05980000 {
			label = "rootfs";
			reg = <0x05980000 0x0a680000>;
		};
	};
};
